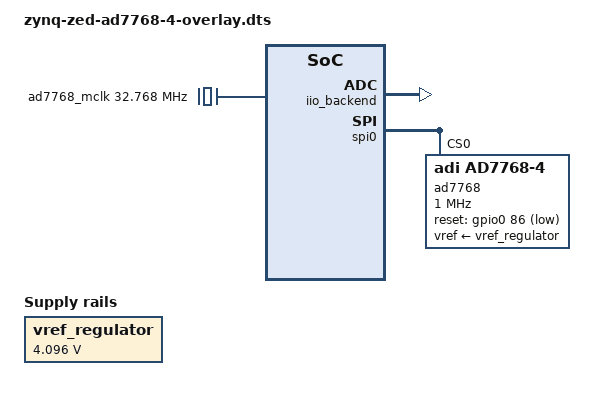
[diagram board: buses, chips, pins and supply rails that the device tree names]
// SPDX-License-Identifier: GPL-2.0
/dts-v1/;
/plugin/;

#include "dt-bindings/iio/adc/adi,ad7768.h"

/ {
	fragment@0 {
		target-path = "/";
		__overlay__ {
			vref_regulator: vref-regulator {
				compatible = "regulator-fixed";
				regulator-name = "fixed-supply";
				regulator-min-microvolt = <4096000>;
				regulator-max-microvolt = <4096000>;
				regulator-always-on;
			};

			axi_clk: axi_clk {
				compatible = "fixed-clock";
				clock-frequency = <100000000>;
				clock-output-names = "axi-clk";
				#clock-cells = <0>;
			};

			ad7768_mclk: ad7768_mclk {
				compatible = "fixed-clock";
				clock-frequency = <32768000>;
				clock-output-names = "ad7768-mclk";
				#clock-cells = <0>;
			};
		};
	};

	fragment@1 {
		target-path = "/fpga-axi";
		__overlay__ {
			#address-cells = <1>;
			#size-cells = <1>;
			rx_dma: dmac@7c480000 {
				compatible = "adi,axi-dmac-1.00.a";
				reg = <0x7c480000 0x1000>;
				#dma-cells = <1>;
				interrupt-parent = <&intc>;
				interrupts = <0 54 4>;
				clocks = <&clkc 16>;

				adi,channels {
					#size-cells = <0>;
					#address-cells = <1>;

					dma_channel: dma-channel@0 {
						reg = <0>;
						adi,source-bus-width = <128>;
						adi,source-bus-type = <2>;
						adi,destination-bus-width = <64>;
						adi,destination-bus-type = <0>;
					};
				};
			};

			iio_backend: axi_adc@43c00000 {
				compatible = "adi,axi-adc-10.0.a";
				reg = <0x43c00000 0x10000>;
				dmas = <&rx_dma 0>;
				dma-names = "rx";
				clocks = <&axi_clk>;
				spibus-connected = <&ad7768>;
			};
		};
	};

	fragment@2 {
		target = <&spi0>;
		__overlay__ {
			status = "okay";
			#address-cells = <1>;
			#size-cells = <0>;
			ad7768: adc@0 {
				compatible = "adi,ad7768-4";
				reg = <0>;
				spi-max-frequency = <1000000>;

				vref-supply = <&vref_regulator>;
				reset-gpios = <&gpio0 86 1>;
				clocks = <&ad7768_mclk>;
				clock-names = "mclk";
				adi,data-lines-number = <4>;
				adi,common-mode-output-v = <AD7768_1P5_V>;
				adi,vcm-power-down;
				adi,power-mode = <AD7768_POWER_MODE_FAST>;

				io-backends = <&iio_backend>;

				#address-cells = <1>;
				#size-cells = <0>;

				channel@0 {
					reg = <0>;
					adi,ch-mode = <0>;
					adi,prebuf-pos-en;
					adi,refbuf-pos-en;
				};

				channel@1 {
					reg = <1>;
					adi,ch-mode = <0>;
					adi,prebuf-pos-en;
					adi,prebuf-neg-en;
					adi,refbuf-pos-en;
					adi,refbuf-neg-en;
				};

				channel@2 {
					reg = <2>;
					adi,ch-mode = <1>;
					adi,prebuf-neg-en;
					adi,refbuf-neg-en;
				};

				channel@3 {
					reg = <3>;
					adi,ch-mode = <1>;
					adi,prebuf-pos-en;
					adi,refbuf-pos-en;
				};
			};
		};
	};
};
